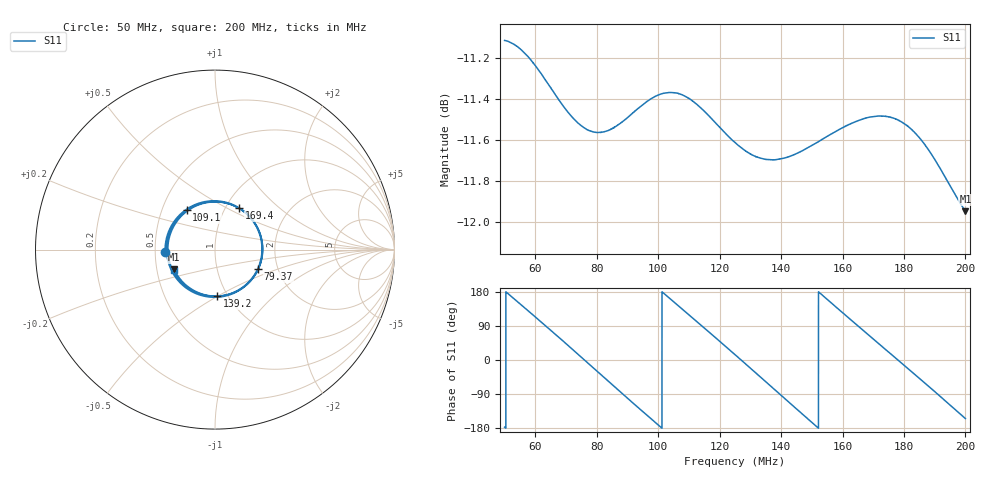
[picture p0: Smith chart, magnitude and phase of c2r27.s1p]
! COPPER MOUNTAIN TECHNOLOGIES, PLANAR TR1300/1, 00071119, 20.2.2/1.0
! Date: 1/9/2024 7:30:26 PM
! Data: Format [Calibration Info]
! Freq  S11: Re/Im F1
# HZ S RI R 50
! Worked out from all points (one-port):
!   12288 points, 50 MHz to 200 MHz, reference 50 ohm
!   lowest |S11| = -11.9 dB at 200 MHz (marker M1), VSWR 1.68, Z = 30.8 - j7.15 ohm
!   |S11| at or under -10 dB: start of sweep to end of sweep
!   S11 on the Smith chart (normalised r, x): 50 MHz: 0.57, -0.02; 79.37 MHz: 1.58, -0.37; 109.1 MHz: 0.67, +0.32; 139.2 MHz: 0.90, -0.50; 169.4 MHz: 1.16, +0.57; 200 MHz: 0.62, -0.14
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5e7  -0.2777 -0.0139
5.479775e7  -0.2389 0.1399
6.027916e7  -0.101 0.2547
6.446651e7  0.0361 0.2688
6.875153e7  0.1649 0.2116
7.420851e7  0.2586 0.0597
7.937251e7  0.2408 -0.1086
8.750305e7  0.0324 -0.2634
9.234964e7  -0.1238 -0.2369
9.781883e7  -0.2462 -0.1088
1.01994e8  -0.2688 0.025
1.062546e8  -0.2215 0.1543
1.090502e8  -0.1575 0.2186
1.165704e8  0.0756 0.2556
1.250061e8  0.2547 0.0642
1.313665e8  0.223 -0.135
1.391552e8  0.0133 -0.2599
1.437576e8  -0.1306 -0.2257
1.485554e8  -0.2359 -0.1136
1.529259e8  -0.2619 0.0242
1.573452e8  -0.2126 0.1568
1.625092e8  -0.0796 0.2532
1.693823e8  0.1343 0.2301
1.755473e8  0.2546 0.0784
1.812607e8  0.2451 -0.1009
1.862171e8  0.1438 -0.2198
1.905876e8  0.0118 -0.2595
2e8  -0.2281 -0.1088
